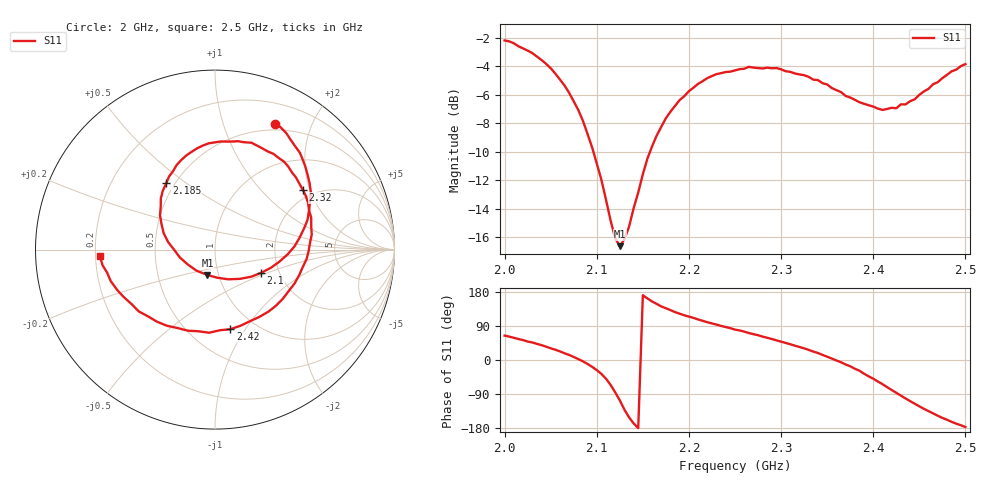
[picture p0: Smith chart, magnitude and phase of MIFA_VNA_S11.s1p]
# HZ S RI R 50
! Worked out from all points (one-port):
!   101 points, 2 GHz to 2.5 GHz, reference 50 ohm
!   lowest |S11| = -16.6 dB at 2.125 GHz (marker M1), VSWR 1.35, Z = 44.2 - j12.8 ohm
!   |S11| at or under -10 dB: 2.096 GHz to 2.158 GHz (61.35 MHz wide, 2.88 % of centre)
!   S11 on the Smith chart (normalised r, x): 2 GHz: 0.42, +1.51; 2.1 GHz: 1.61, -0.45; 2.185 GHz: 0.45, +0.42; 2.32 GHz: 1.75, +1.79; 2.42 GHz: 0.77, -0.86; 2.5 GHz: 0.22, -0.03
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2e9  0.3368 0.7021
2.035e9  0.5031 0.4632
2.05e9  0.534 0.3195
2.065e9  0.5154 0.1648
2.08e9  0.4431 0.0184
2.1e9  0.2574 -0.1292
2.11e9  0.14 -0.163
2.12e9  0.0129 -0.1568
2.125e9  -0.0419 -0.1415
2.135e9  -0.151 -0.0833
2.155e9  -0.2857 0.0908
2.175e9  -0.3019 0.285
2.185e9  -0.2716 0.3701
2.19e9  -0.2558 0.4076
2.22e9  -0.0961 0.5662
2.25e9  0.1045 0.6023
2.265e9  0.2033 0.5955
2.285e9  0.3253 0.5336
2.315e9  0.4714 0.3652
2.32e9  0.4889 0.3332
2.35e9  0.539 0.0831
2.375e9  0.4707 -0.1394
2.4e9  0.2973 -0.346
2.42e9  0.0849 -0.4437
2.44e9  -0.1515 -0.4518
2.455e9  -0.3235 -0.4016
2.475e9  -0.5108 -0.2622
2.5e9  -0.6422 -0.0354
